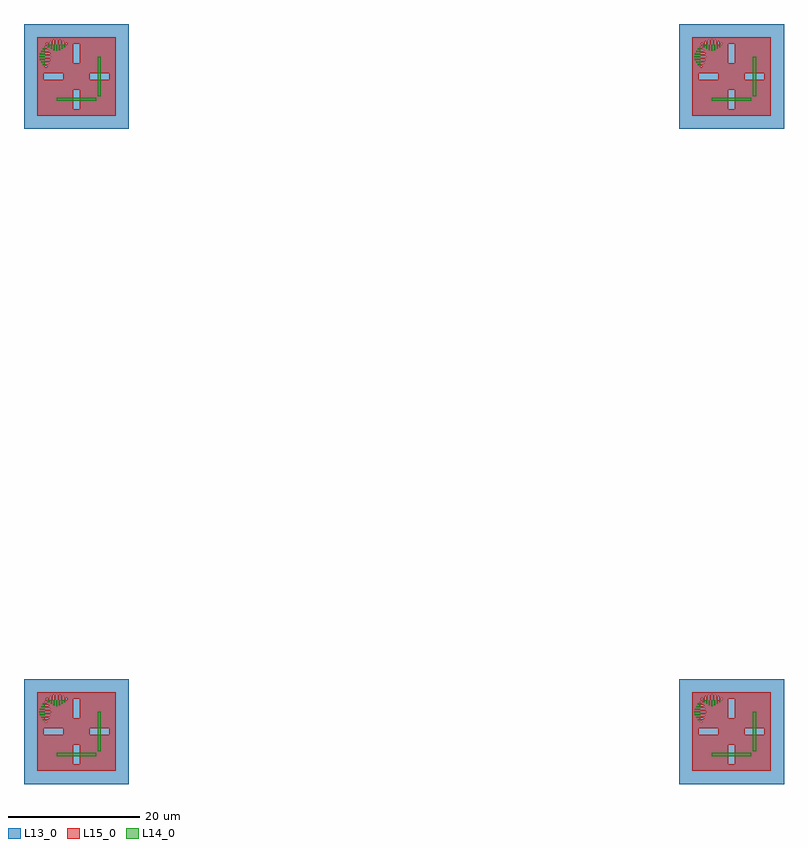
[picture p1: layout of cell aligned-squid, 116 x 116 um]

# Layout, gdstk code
import gdstk
lib = gdstk.Library(unit=1e-6, precision=1e-09)
def R(c, l, rs):  # rectangles x0, y0, x1, y1
    for r in rs: c.add(gdstk.rectangle(r[:2], r[2:], *l))
def P(c, l, *ps):  # polygons
    for p in ps: c.add(gdstk.Polygon(p, *l))
L13_0 = (13, 0)
L14_0 = (14, 0)
L15_0 = (15, 0)

aligned_squid = lib.new_cell('aligned-squid')
R(aligned_squid, L13_0, [(-58,-58,-42,-42), (42,-58,58,-42), (-58,42,-42,58), (42,42,58,58)])
R(aligned_squid, L14_0, [(-53,-53.75,-47,-53.25), (47,-53.75,53,-53.25), (-46.75,-53,-46.25,-47), (53.25,-53,53.75,-47), (-55.132,-48.3,-54.8,-48.1), (44.868,-48.3,45.2,-48.1), (-55.377,-47.9,-54.8,-47.7), (44.623,-47.9,45.2,-47.7), (-55.605,-47.5,-54.8,-47.3), (44.395,-47.5,45.2,-47.3), (-55.7,-47.1,-54.8,-46.9), (44.3,-47.1,45.2,-46.9), (-55.605,-46.7,-54.8,-46.5), (44.395,-46.7,45.2,-46.5), (-55.377,-46.3,-54.8,-46.1), (44.623,-46.3,45.2,-46.1), (-53.1,-46.1,-52.9,-45.2), (46.9,-46.1,47.1,-45.2), (-53.5,-46.005,-53.3,-45.2), (-52.7,-46.005,-52.5,-45.2), (46.5,-46.005,46.7,-45.2), (47.3,-46.005,47.5,-45.2), (-55.132,-45.9,-54.8,-45.7), (44.868,-45.9,45.2,-45.7), (-53.9,-45.777,-53.7,-45.2), (-52.3,-45.777,-52.1,-45.2), (46.1,-45.777,46.3,-45.2), (47.7,-45.777,47.9,-45.2), (-54.3,-45.532,-54.1,-45.2), (-51.9,-45.532,-51.7,-45.2), (45.7,-45.532,45.9,-45.2), (48.1,-45.532,48.3,-45.2), (-53,46.25,-47,46.75), (47,46.25,53,46.75), (-46.75,47,-46.25,53), (53.25,47,53.75,53), (-55.132,51.7,-54.8,51.9), (44.868,51.7,45.2,51.9), (-55.377,52.1,-54.8,52.3), (44.623,52.1,45.2,52.3), (-55.605,52.5,-54.8,52.7), (44.395,52.5,45.2,52.7), (-55.7,52.9,-54.8,53.1), (44.3,52.9,45.2,53.1), (-55.605,53.3,-54.8,53.5), (44.395,53.3,45.2,53.5), (-55.377,53.7,-54.8,53.9), (44.623,53.7,45.2,53.9), (-53.1,53.9,-52.9,54.8), (46.9,53.9,47.1,54.8), (-53.5,53.995,-53.3,54.8), (-52.7,53.995,-52.5,54.8), (46.5,53.995,46.7,54.8), (47.3,53.995,47.5,54.8), (-55.132,54.1,-54.8,54.3), (44.868,54.1,45.2,54.3), (-53.9,54.223,-53.7,54.8), (-52.3,54.223,-52.1,54.8), (46.1,54.223,46.3,54.8), (47.7,54.223,47.9,54.8), (-54.3,54.468,-54.1,54.8), (-51.9,54.468,-51.7,54.8), (45.7,54.468,45.9,54.8), (48.1,54.468,48.3,54.8)])
P(aligned_squid, L15_0, [(56,56),(49.5,56),(49.5,55),(50.5,55),(50.5,52),(50.05,52),(50.05,50.05),(52,50.05),(52,50.5),(55,50.5),(55,49.5),(52,49.5),(52,49.95),(50.05,49.95),(50.05,48),(50.5,48),(50.5,45),(49.5,45),(49.5,48),(49.95,48),(49.95,49.95),(48,49.95),(48,49.5),(45,49.5),(45,50.5),(48,50.5),(48,50.05),(49.95,50.05),(49.95,52),(49.5,52),(49.5,56),(48.4,56),(48.4,55.132),(48.6,55.132),(48.6,54.8),(48.4,54.8),(48.4,56),(47.9,56),(47.9,55.377),(48.1,55.377),(48.1,54.8),(47.9,54.8),(47.9,56),(47.4,56),(47.4,55.605),(47.6,55.605),(47.6,54.8),(47.4,54.8),(47.4,56),(46.9,56),(46.9,55.7),(47.1,55.7),(47.1,54.8),(46.9,54.8),(46.9,56),(46.4,56),(46.4,55.605),(46.6,55.605),(46.6,54.8),(46.4,54.8),(46.4,56),(45.9,56),(45.9,55.377),(46.1,55.377),(46.1,54.8),(45.9,54.8),(45.9,56),(45.4,56),(45.4,55.132),(45.6,55.132),(45.6,54.8),(45.4,54.8),(45.4,56),(45.2,56),(45.2,54.6),(45.532,54.6),(45.532,54.4),(45.2,54.4),(45.2,54.1),(45.777,54.1),(45.777,53.9),(45.2,53.9),(45.2,53.6),(46.005,53.6),(46.005,53.4),(45.2,53.4),(45.2,53.1),(46.1,53.1),(46.1,52.9),(45.2,52.9),(45.2,52.6),(46.005,52.6),(46.005,52.4),(45.2,52.4),(45.2,52.1),(45.777,52.1),(45.777,51.9),(45.2,51.9),(45.2,51.6),(45.532,51.6),(45.532,51.4),(45.2,51.4),(45.2,56),(44,56),(44,44),(56,44)],
  [(-44,56),(-50.5,56),(-50.5,55),(-49.5,55),(-49.5,52),(-49.95,52),(-49.95,50.05),(-48,50.05),(-48,50.5),(-45,50.5),(-45,49.5),(-48,49.5),(-48,49.95),(-49.95,49.95),(-49.95,48),(-49.5,48),(-49.5,45),(-50.5,45),(-50.5,48),(-50.05,48),(-50.05,49.95),(-52,49.95),(-52,49.5),(-55,49.5),(-55,50.5),(-52,50.5),(-52,50.05),(-50.05,50.05),(-50.05,52),(-50.5,52),(-50.5,56),(-51.6,56),(-51.6,55.132),(-51.4,55.132),(-51.4,54.8),(-51.6,54.8),(-51.6,56),(-52.1,56),(-52.1,55.377),(-51.9,55.377),(-51.9,54.8),(-52.1,54.8),(-52.1,56),(-52.6,56),(-52.6,55.605),(-52.4,55.605),(-52.4,54.8),(-52.6,54.8),(-52.6,56),(-53.1,56),(-53.1,55.7),(-52.9,55.7),(-52.9,54.8),(-53.1,54.8),(-53.1,56),(-53.6,56),(-53.6,55.605),(-53.4,55.605),(-53.4,54.8),(-53.6,54.8),(-53.6,56),(-54.1,56),(-54.1,55.377),(-53.9,55.377),(-53.9,54.8),(-54.1,54.8),(-54.1,56),(-54.6,56),(-54.6,55.132),(-54.4,55.132),(-54.4,54.8),(-54.6,54.8),(-54.6,56),(-54.8,56),(-54.8,54.6),(-54.468,54.6),(-54.468,54.4),(-54.8,54.4),(-54.8,54.1),(-54.223,54.1),(-54.223,53.9),(-54.8,53.9),(-54.8,53.6),(-53.995,53.6),(-53.995,53.4),(-54.8,53.4),(-54.8,53.1),(-53.9,53.1),(-53.9,52.9),(-54.8,52.9),(-54.8,52.6),(-53.995,52.6),(-53.995,52.4),(-54.8,52.4),(-54.8,52.1),(-54.223,52.1),(-54.223,51.9),(-54.8,51.9),(-54.8,51.6),(-54.468,51.6),(-54.468,51.4),(-54.8,51.4),(-54.8,56),(-56,56),(-56,44),(-44,44)],
  [(56,-44),(49.5,-44),(49.5,-45),(50.5,-45),(50.5,-48),(50.05,-48),(50.05,-49.95),(52,-49.95),(52,-49.5),(55,-49.5),(55,-50.5),(52,-50.5),(52,-50.05),(50.05,-50.05),(50.05,-52),(50.5,-52),(50.5,-55),(49.5,-55),(49.5,-52),(49.95,-52),(49.95,-50.05),(48,-50.05),(48,-50.5),(45,-50.5),(45,-49.5),(48,-49.5),(48,-49.95),(49.95,-49.95),(49.95,-48),(49.5,-48),(49.5,-44),(48.4,-44),(48.4,-44.868),(48.6,-44.868),(48.6,-45.2),(48.4,-45.2),(48.4,-44),(47.9,-44),(47.9,-44.623),(48.1,-44.623),(48.1,-45.2),(47.9,-45.2),(47.9,-44),(47.4,-44),(47.4,-44.395),(47.6,-44.395),(47.6,-45.2),(47.4,-45.2),(47.4,-44),(46.9,-44),(46.9,-44.3),(47.1,-44.3),(47.1,-45.2),(46.9,-45.2),(46.9,-44),(46.4,-44),(46.4,-44.395),(46.6,-44.395),(46.6,-45.2),(46.4,-45.2),(46.4,-44),(45.9,-44),(45.9,-44.623),(46.1,-44.623),(46.1,-45.2),(45.9,-45.2),(45.9,-44),(45.4,-44),(45.4,-44.868),(45.6,-44.868),(45.6,-45.2),(45.4,-45.2),(45.4,-44),(45.2,-44),(45.2,-45.4),(45.532,-45.4),(45.532,-45.6),(45.2,-45.6),(45.2,-45.9),(45.777,-45.9),(45.777,-46.1),(45.2,-46.1),(45.2,-46.4),(46.005,-46.4),(46.005,-46.6),(45.2,-46.6),(45.2,-46.9),(46.1,-46.9),(46.1,-47.1),(45.2,-47.1),(45.2,-47.4),(46.005,-47.4),(46.005,-47.6),(45.2,-47.6),(45.2,-47.9),(45.777,-47.9),(45.777,-48.1),(45.2,-48.1),(45.2,-48.4),(45.532,-48.4),(45.532,-48.6),(45.2,-48.6),(45.2,-44),(44,-44),(44,-56),(56,-56)],
  [(-44,-44),(-50.5,-44),(-50.5,-45),(-49.5,-45),(-49.5,-48),(-49.95,-48),(-49.95,-49.95),(-48,-49.95),(-48,-49.5),(-45,-49.5),(-45,-50.5),(-48,-50.5),(-48,-50.05),(-49.95,-50.05),(-49.95,-52),(-49.5,-52),(-49.5,-55),(-50.5,-55),(-50.5,-52),(-50.05,-52),(-50.05,-50.05),(-52,-50.05),(-52,-50.5),(-55,-50.5),(-55,-49.5),(-52,-49.5),(-52,-49.95),(-50.05,-49.95),(-50.05,-48),(-50.5,-48),(-50.5,-44),(-51.6,-44),(-51.6,-44.868),(-51.4,-44.868),(-51.4,-45.2),(-51.6,-45.2),(-51.6,-44),(-52.1,-44),(-52.1,-44.623),(-51.9,-44.623),(-51.9,-45.2),(-52.1,-45.2),(-52.1,-44),(-52.6,-44),(-52.6,-44.395),(-52.4,-44.395),(-52.4,-45.2),(-52.6,-45.2),(-52.6,-44),(-53.1,-44),(-53.1,-44.3),(-52.9,-44.3),(-52.9,-45.2),(-53.1,-45.2),(-53.1,-44),(-53.6,-44),(-53.6,-44.395),(-53.4,-44.395),(-53.4,-45.2),(-53.6,-45.2),(-53.6,-44),(-54.1,-44),(-54.1,-44.623),(-53.9,-44.623),(-53.9,-45.2),(-54.1,-45.2),(-54.1,-44),(-54.6,-44),(-54.6,-44.868),(-54.4,-44.868),(-54.4,-45.2),(-54.6,-45.2),(-54.6,-44),(-54.8,-44),(-54.8,-45.4),(-54.468,-45.4),(-54.468,-45.6),(-54.8,-45.6),(-54.8,-45.9),(-54.223,-45.9),(-54.223,-46.1),(-54.8,-46.1),(-54.8,-46.4),(-53.995,-46.4),(-53.995,-46.6),(-54.8,-46.6),(-54.8,-46.9),(-53.9,-46.9),(-53.9,-47.1),(-54.8,-47.1),(-54.8,-47.4),(-53.995,-47.4),(-53.995,-47.6),(-54.8,-47.6),(-54.8,-47.9),(-54.223,-47.9),(-54.223,-48.1),(-54.8,-48.1),(-54.8,-48.4),(-54.468,-48.4),(-54.468,-48.6),(-54.8,-48.6),(-54.8,-44),(-56,-44),(-56,-56),(-44,-56)])

lib.write_gds('aligned-squid.gds')
